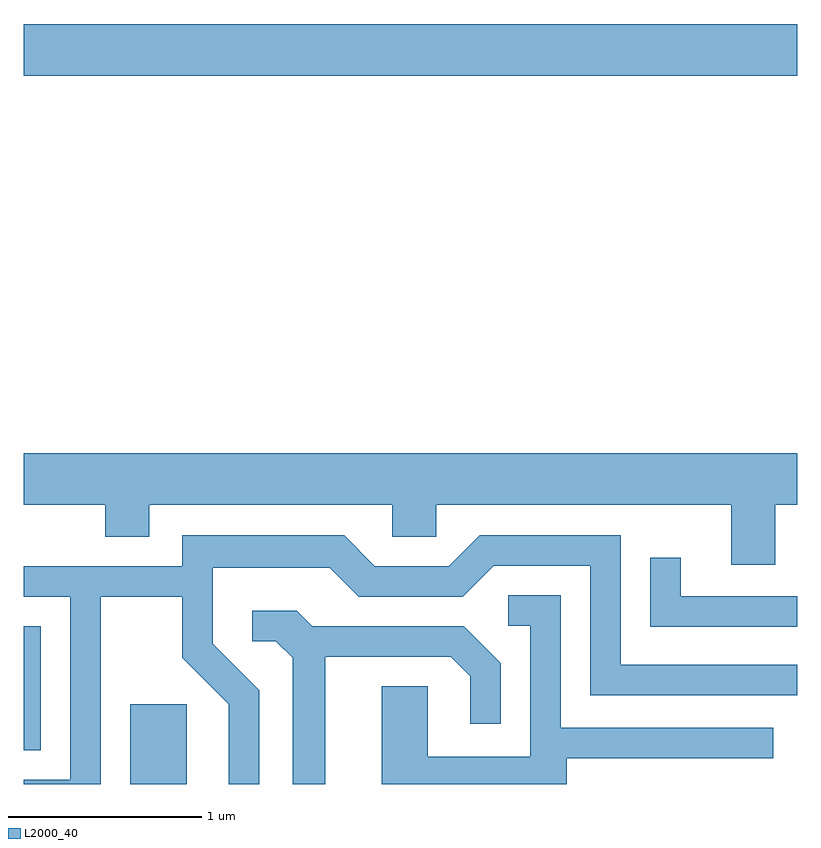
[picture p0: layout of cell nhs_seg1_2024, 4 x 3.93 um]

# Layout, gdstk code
import gdstk
lib = gdstk.Library(unit=1e-6, precision=1e-09)
def R(c, l, rs):  # rectangles x0, y0, x1, y1
    for r in rs: c.add(gdstk.rectangle(r[:2], r[2:], *l))
def P(c, l, *ps):  # polygons
    for p in ps: c.add(gdstk.Polygon(p, *l))
L2000_40 = (2000, 40)

nhs_seg1_2024 = lib.new_cell('nhs_seg1_2024')
R(nhs_seg1_2024, L2000_40, [(248.161,873.712,248.454,874.124), (247.611,873.886,247.699,874.529), (247.611,877.376,251.611,877.644)])
P(nhs_seg1_2024, L2000_40, [(251.499,875.156),(251.611,875.156),(251.611,875.424),(247.611,875.424),(247.611,875.156),(248.031,875.156),(248.031,874.991),(248.259,874.991),(248.259,875.156),(249.516,875.156),(249.516,874.991),(249.744,874.991),(249.744,875.156),(251.271,875.156),(251.271,874.846),(251.499,874.846)],
  [(248.009,874.681),(248.431,874.681),(248.431,874.364),(248.671,874.124),(248.671,873.712),(248.829,873.712),(248.829,874.197),(248.589,874.437),(248.589,874.831),(249.194,874.831),(249.344,874.681),(249.882,874.681),(250.042,874.841),(250.541,874.841),(250.541,874.171),(251.611,874.171),(251.611,874.329),(250.699,874.329),(250.699,874.999),(249.969,874.999),(249.809,874.839),(249.427,874.839),(249.267,874.999),(248.431,874.999),(248.431,874.839),(247.611,874.839),(247.611,874.681),(247.851,874.681),(247.851,873.734),(247.611,873.734),(247.611,873.712),(248.009,873.712)],
  [(251.611,874.684),(251.009,874.684),(251.009,874.883),(250.851,874.883),(250.851,874.526),(251.611,874.526)],
  [(250.419,873.846),(251.488,873.846),(251.488,874.004),(250.389,874.004),(250.389,874.689),(250.118,874.689),(250.118,874.531),(250.231,874.531),(250.231,873.854),(249.699,873.854),(249.699,874.219),(249.461,874.219),(249.461,873.712),(250.419,873.712)],
  [(249.169,874.371),(249.819,874.371),(249.921,874.269),(249.921,874.023),(250.079,874.023),(250.079,874.337),(249.887,874.529),(249.102,874.529),(249.022,874.609),(248.793,874.609),(248.793,874.451),(248.914,874.451),(249.001,874.364),(249.001,873.712),(249.169,873.712)])

lib.write_gds('nhs_seg1_2024.gds')
